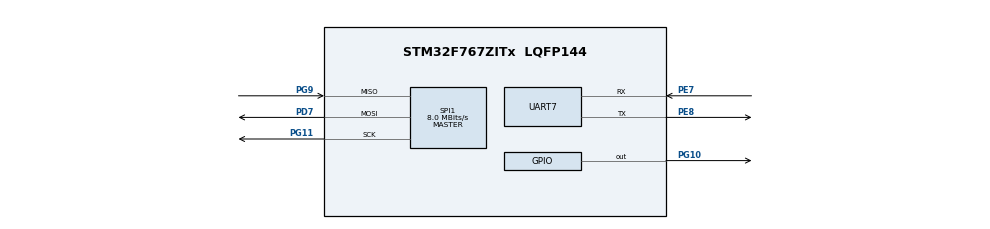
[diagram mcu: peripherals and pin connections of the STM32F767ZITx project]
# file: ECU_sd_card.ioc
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FATFS._MAX_SS=4096
FATFS._USE_LFN=1
Mcu.Family=STM32F7
Mcu.Name=STM32F767ZITx
Mcu.Package=LQFP144
NVIC.PriorityGroup=NVIC_PRIORITYGROUP_4
PD7.Mode=Full_Duplex_Master
PD7.Signal=SPI1_MOSI
PE7.Mode=Asynchronous
PE7.Signal=UART7_RX
PE8.Mode=Asynchronous
PE8.Signal=UART7_TX
PG10.GPIO_Speed=GPIO_SPEED_FREQ_MEDIUM
PG10.PinState=GPIO_PIN_SET
PG10.Signal=GPIO_Output
PG11.Mode=Full_Duplex_Master
PG11.Signal=SPI1_SCK
PG9.Mode=Full_Duplex_Master
PG9.Signal=SPI1_MISO
ProjectManager.HeapSize=0x200
ProjectManager.StackSize=0x400
ProjectManager.TargetToolchain=STM32CubeIDE
RCC.HSE_VALUE=25000000
RCC.HSI_VALUE=16000000
RCC.LSE_VALUE=32768
RCC.USBFreq_Value=96000000
RCC.VCOOutputFreq_Value=192000000
SPI1.CalculateBaudRate=8.0 MBits/s
SPI1.DataSize=SPI_DATASIZE_8BIT
SPI1.Direction=SPI_DIRECTION_2LINES
SPI1.Mode=SPI_MODE_MASTER
SPI1.VirtualType=VM_MASTER
VP_FATFS_VS_Generic.Mode=User_defined
board=custom

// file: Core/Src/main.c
/* USER CODE BEGIN Header */
/**
 ******************************************************************************
 * @file           : main.c
 * @brief          : Main program body
 ******************************************************************************
 * @attention
 *
 * <h2><center>&copy; Copyright (c) 2022 STMicroelectronics.
 * All rights reserved.</center></h2>
 *
 * This software component is licensed by ST under Ultimate Liberty license
 * SLA0044, the "License"; You may not use this file except in compliance with
 * the License. You may obtain a copy of the License at:
 *                             www.st.com/SLA0044
 *
 ******************************************************************************
 */
/* USER CODE END Header */
#include "main.h"
#include "fatfs.h"

/* USER CODE BEGIN Includes */

#include <fatfs_sd.h>
#include <string.h>
#include <stdio.h>

/* USER CODE END Includes */

SPI_HandleTypeDef hspi1;

UART_HandleTypeDef huart7;

/* USER CODE BEGIN PV */

FATFS fs;
FATFS* pfs;
FIL fil;
FRESULT fres;
DWORD fre_clust;
uint32_t totalSpace, freeSpace;
char buffer[100];

/* USER CODE END PV */

void SystemClock_Config(void);
static void MX_GPIO_Init(void);
static void MX_SPI1_Init(void);
static void MX_UART7_Init(void);

int main(void)
{

  /* MCU Configuration--------------------------------------------------------*/

  /* Reset of all peripherals, Initializes the Flash interface and the Systick. */
  HAL_Init();

  /* USER CODE BEGIN Init */
	void transmit_uart(char *string) {
		uint8_t len = strlen(string);
		HAL_UART_Transmit(&huart7, (uint8_t*) string, len, 200);
	}
  /* USER CODE END Init */

  /* Configure the system clock */
  SystemClock_Config();

  /* Initialize all configured peripherals */
  MX_GPIO_Init();
  MX_SPI1_Init();
  MX_FATFS_Init();
  MX_UART7_Init();
  /* USER CODE BEGIN 2 */

	HAL_Delay(500);

	fres = f_mount(&fs, "", 0);
	if (fres == FR_OK) {
		transmit_uart("Micro SD card is mounted successfully!\n");
	} else if (fres != FR_OK) {
		transmit_uart("ERROR: Micro SD card's mount error!\n");
	}

	fres = f_open(&fil, "log-file.txt", FA_OPEN_APPEND | FA_WRITE | FA_READ);
	if (fres == FR_OK) {
		transmit_uart(
				"File was opened for reading and checking the free space!\n");
	} else if (fres != FR_OK) {
		transmit_uart("ERROR: File was not opened!\n");
	}

	fres = f_getfree("", &fre_clust, &pfs);
	totalSpace = (uint32_t) ((pfs->n_fatent - 2) * pfs->csize * 0.5);
	freeSpace = (uint32_t) (fre_clust * pfs->csize * 0.5);
	char mSz[12];
	sprintf(mSz, "%lu", freeSpace);
	if (fres == FR_OK) {
		transmit_uart("The free space is: ");
		transmit_uart(mSz);
		transmit_uart("\n");
	} else if (fres != FR_OK) {
		transmit_uart("ERROR: The free space could not be determined!\n");
	}

	for (uint8_t i = 0; i < 10; i++) {
		f_puts("This text is written in the file.\n", &fil);
	}

	fres = f_close(&fil);
	if (fres == FR_OK) {
		transmit_uart("The file is closed.\n");
	} else if (fres != FR_OK) {
		transmit_uart("Error: file could not be closed.\n");
	}

	fres = f_open(&fil, "log-file.txt", FA_READ);
	if (fres == FR_OK) {
		transmit_uart("File was opened for reading\n");
	} else if (fres != FR_OK) {
		transmit_uart("ERROR: File was not opened!\n");
	}

	while (f_gets(buffer, sizeof(buffer), &fil)) {
		char mRd[100];
		sprintf(mRd, "%s", buffer);
		transmit_uart(mRd);
	}

	fres = f_close(&fil);
	if (fres == FR_OK) {
		transmit_uart("The file is closed.\n");
	} else if (fres != FR_OK) {
		transmit_uart("Error: file could not be closed.\n");
	}

	f_mount(NULL, "", 1);
	if (fres == FR_OK) {
		transmit_uart("The Micro SD card is unmounted.\n");
	} else if (fres != FR_OK) {
		transmit_uart("Error: microsd could not be unmounted.\n");
	}

  /* USER CODE END 2 */

  /* Infinite loop */
	while (1) {

	}
}

void SystemClock_Config(void)
{
  RCC_OscInitTypeDef RCC_OscInitStruct = {0};
  RCC_ClkInitTypeDef RCC_ClkInitStruct = {0};
  RCC_PeriphCLKInitTypeDef PeriphClkInitStruct = {0};

  /** Configure the main internal regulator output voltage
  */
  __HAL_RCC_PWR_CLK_ENABLE();
  __HAL_PWR_VOLTAGESCALING_CONFIG(PWR_REGULATOR_VOLTAGE_SCALE3);
  /** Initializes the RCC Oscillators according to the specified parameters
  * in the RCC_OscInitTypeDef structure.
  */
  RCC_OscInitStruct.OscillatorType = RCC_OSCILLATORTYPE_HSI;
  RCC_OscInitStruct.HSIState = RCC_HSI_ON;
  RCC_OscInitStruct.HSICalibrationValue = RCC_HSICALIBRATION_DEFAULT;
  RCC_OscInitStruct.PLL.PLLState = RCC_PLL_NONE;
  if (HAL_RCC_OscConfig(&RCC_OscInitStruct) != HAL_OK)
  {
    Error_Handler();
  }
  /** Initializes the CPU, AHB and APB buses clocks
  */
  RCC_ClkInitStruct.ClockType = RCC_CLOCKTYPE_HCLK|RCC_CLOCKTYPE_SYSCLK
                              |RCC_CLOCKTYPE_PCLK1|RCC_CLOCKTYPE_PCLK2;
  RCC_ClkInitStruct.SYSCLKSource = RCC_SYSCLKSOURCE_HSI;
  RCC_ClkInitStruct.AHBCLKDivider = RCC_SYSCLK_DIV1;
  RCC_ClkInitStruct.APB1CLKDivider = RCC_HCLK_DIV1;
  RCC_ClkInitStruct.APB2CLKDivider = RCC_HCLK_DIV1;

  if (HAL_RCC_ClockConfig(&RCC_ClkInitStruct, FLASH_LATENCY_0) != HAL_OK)
  {
    Error_Handler();
  }
  PeriphClkInitStruct.PeriphClockSelection = RCC_PERIPHCLK_UART7;
  PeriphClkInitStruct.Uart7ClockSelection = RCC_UART7CLKSOURCE_PCLK1;
  if (HAL_RCCEx_PeriphCLKConfig(&PeriphClkInitStruct) != HAL_OK)
  {
    Error_Handler();
  }
}

static void MX_SPI1_Init(void)
{

  /* SPI1 parameter configuration*/
  hspi1.Instance = SPI1;
  hspi1.Init.Mode = SPI_MODE_MASTER;
  hspi1.Init.Direction = SPI_DIRECTION_2LINES;
  hspi1.Init.DataSize = SPI_DATASIZE_8BIT;
  hspi1.Init.CLKPolarity = SPI_POLARITY_LOW;
  hspi1.Init.CLKPhase = SPI_PHASE_1EDGE;
  hspi1.Init.NSS = SPI_NSS_SOFT;
  hspi1.Init.BaudRatePrescaler = SPI_BAUDRATEPRESCALER_2;
  hspi1.Init.FirstBit = SPI_FIRSTBIT_MSB;
  hspi1.Init.TIMode = SPI_TIMODE_DISABLE;
  hspi1.Init.CRCCalculation = SPI_CRCCALCULATION_DISABLE;
  hspi1.Init.CRCPolynomial = 7;
  hspi1.Init.CRCLength = SPI_CRC_LENGTH_DATASIZE;
  hspi1.Init.NSSPMode = SPI_NSS_PULSE_ENABLE;
  if (HAL_SPI_Init(&hspi1) != HAL_OK)
  {
    Error_Handler();
  }

}

static void MX_UART7_Init(void)
{

  huart7.Instance = UART7;
  huart7.Init.BaudRate = 115200;
  huart7.Init.WordLength = UART_WORDLENGTH_8B;
  huart7.Init.StopBits = UART_STOPBITS_1;
  huart7.Init.Parity = UART_PARITY_NONE;
  huart7.Init.Mode = UART_MODE_TX_RX;
  huart7.Init.HwFlowCtl = UART_HWCONTROL_NONE;
  huart7.Init.OverSampling = UART_OVERSAMPLING_16;
  huart7.Init.OneBitSampling = UART_ONE_BIT_SAMPLE_DISABLE;
  huart7.AdvancedInit.AdvFeatureInit = UART_ADVFEATURE_NO_INIT;
  if (HAL_UART_Init(&huart7) != HAL_OK)
  {
    Error_Handler();
  }

}

static void MX_GPIO_Init(void)
{
  GPIO_InitTypeDef GPIO_InitStruct = {0};

  /* GPIO Ports Clock Enable */
  __HAL_RCC_GPIOE_CLK_ENABLE();
  __HAL_RCC_GPIOD_CLK_ENABLE();
  __HAL_RCC_GPIOG_CLK_ENABLE();

  /*Configure GPIO pin Output Level */
  HAL_GPIO_WritePin(GPIOG, GPIO_PIN_10, GPIO_PIN_SET);

  /*Configure GPIO pin : PG10 */
  GPIO_InitStruct.Pin = GPIO_PIN_10;
  GPIO_InitStruct.Mode = GPIO_MODE_OUTPUT_PP;
  GPIO_InitStruct.Pull = GPIO_NOPULL;
  GPIO_InitStruct.Speed = GPIO_SPEED_FREQ_MEDIUM;
  HAL_GPIO_Init(GPIOG, &GPIO_InitStruct);

}

void Error_Handler(void)
{
	__disable_irq();
	while (1) {
	}
}

/************************ (C) COPYRIGHT STMicroelectronics *****END OF FILE****/
